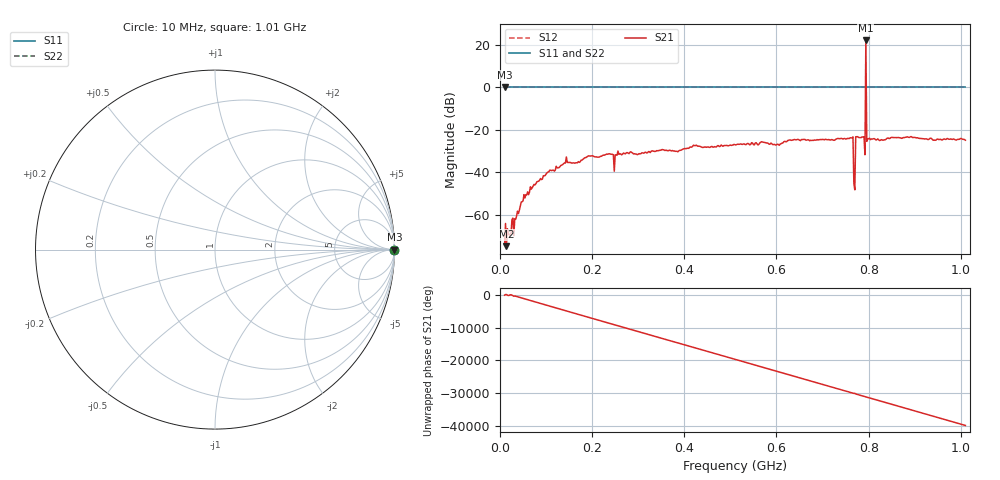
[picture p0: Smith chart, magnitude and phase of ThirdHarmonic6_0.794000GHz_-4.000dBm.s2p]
! 8/16/2025 2:28:42 AM
! C:\ANRITSUVNA\TEMP\TEMP.S2P
! CHANNEL.1
! TR.MEASUREMENT
! RAW.DATA
! RF.CORRECTION.OFF
! AVERAGING.OFF
! IF.BANDWIDTH: 5KHZ
! SWEEPTYPE:  FREQ.SWEEP(Linear)
! Reference Plane Port Info
! PORT:  PORT1  PORT2
! DISTANCE:  0  m  0  m
! TIME:  0  s  0  s
! PHASE.OFFSET:  0  deg.  0  deg.
! LOSS:  0  dB  0  dB
! REF.LOSS:  0  dB  0  dB
! REF.FREQ:  0  Hz  0  Hz
! Power Info
! POWER:  -20  dBm  -20  dBm
! EFF.POWER:  -20  dBm  -20  dBm
! SOURCE.ATTEN:  0  dB  0  dB
! TEST.ATTEN:  0  dB  0  dB
# GHZ S RI R 50.0
! FREQ.GHZ  S11RE  S11IM  S21RE  S21IM  S12RE  S12IM  S22RE  S22IM
!; PortSelection: Port_12
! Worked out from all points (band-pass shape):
!   501 points, 10 MHz to 1.01 GHz, reference 50 ohm
!   highest |S21| = 21.91 dB at 794 MHz (marker M1); lowest = -74.8 dB at 14 MHz (marker M2)
!   |S21| within 3 dB of the highest: 793.8882 MHz to 794.1265 MHz (238.3 kHz wide, 0.03 % of centre)
!   lowest |S11| = 0.0 dB at 10 MHz (marker M3)
!   |S11| at or under -10 dB: nowhere
!   |S22| runs from 0.0 to 0.0 dB; largest |S21 - S12| = 13
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0.01  1 0  -9.84e-05 -0.000167  1 0  1 0
0.014  1 0  7.41e-05 0.000167  1 0  1 0
0.026  1 0  -0.000353 -0.00069  1 0  1 0
0.048  1 0  -0.000101 0.00202  1 0  1 0
0.07  1 0  -0.00137 -0.00415  1 0  1 0
0.14  1 0  0.00412 -0.0159  1 0  1 0
0.178  1 0  -0.0187 -0.00456  1 0  1 0
0.196  1 0  -0.024 -0.000599  1 0  1 0
0.344  1 0  0.0314 -0.00619  1 0  1 0
0.51  1 0  -0.0418 0.0146  1 0  1 0
0.678  1 0  -0.0235 -0.051  1 0  1 0
0.762  1 0  -0.0137 0.0624  1 0  1 0
0.766  1 0  0.0374 -0.0564  1 0  1 0
0.772  1 0  0.037 0.0571  1 0  1 0
0.776  1 0  -0.0184 -0.0659  1 0  1 0
0.788  1 0  -0.0453 0.0489  1 0  1 0
0.79  1 0  0.0433 0.0528  1 0  1 0
0.794  1 0  -3.566 -11.95  1 0  1 0
0.798  1 0  0.00592 0.0604  1 0  1 0
0.8  1 0  0.0607 0.0067  1 0  1 0
0.844  1 0  0.0461 0.0415  1 0  1 0
1.01  1 0  -0.0542 -0.0158  1 0  1 0
